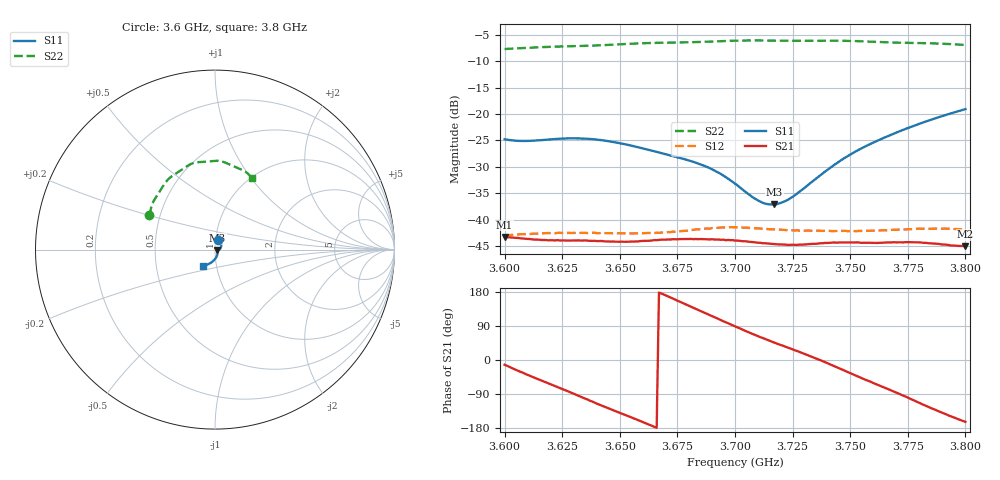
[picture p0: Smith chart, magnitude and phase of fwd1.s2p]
#  HZ  S  DB  R  50.00
! Rohde & Schwarz ZVB8 2Ports - Version 3.70 - 1145.1010k08 SN: 100925
! Date: 2017-03-03 16:07:43
! Measurements: S11 S21 S12 S22
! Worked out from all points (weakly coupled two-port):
!   201 points, 3.6 GHz to 3.8 GHz, reference 50 ohm
!   highest |S21| = -43.29 dB at 3.6 GHz (marker M1); lowest = -45.0 dB at 3.8 GHz (marker M2)
!   lowest |S11| = -37.1 dB at 3.717 GHz (marker M3), VSWR 1.03, Z = 51.3 - j0.482 ohm
!   |S11| at or under -10 dB: start of sweep to end of sweep
!   |S22| runs from -7.7 to -6.1 dB; largest |S21 - S12| = 0.0027
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3.6e9  -24.80 75.4  -43.29 -12.6  -42.99 1.7  -7.69 152.3
3.609e9  -25.11 80.7  -43.63 -36.8  -42.76 -21.8  -7.49 148.2
3.619e9  -24.84 81.6  -43.94 -61.6  -42.54 -48.5  -7.29 144.2
3.634e9  -24.65 71.1  -43.98 -99.6  -42.52 -89.5  -7.12 137.6
3.648e9  -25.37 54.7  -44.18 -134.6  -42.54 -126.7  -6.85 130.5
3.667e9  -27.29 34.6  -43.86 177.9  -42.50 -173.8  -6.52 122.4
3.68e9  -28.80 22.6  -43.68 143.1  -42.00 152.5  -6.42 116.1
3.687e9  -29.87 14.8  -43.74 123.9  -41.71 133.1  -6.33 112.5
3.694e9  -31.40 5.6  -43.81 104.9  -41.49 113.2  -6.21 109.2
3.7e9  -33.18 -2.6  -43.98 88.9  -41.46 95.7  -6.12 106.7
3.706e9  -35.24 -9.5  -44.19 72.8  -41.57 78.4  -6.08 104.4
3.71e9  -36.38 -13.1  -44.39 62.9  -41.68 67.0  -6.08 102.8
3.713e9  -36.95 -15.7  -44.48 55.7  -41.78 59.4  -6.09 101.6
3.717e9  -37.14 -19.7  -44.66 46.2  -41.86 48.7  -6.11 99.8
3.723e9  -36.24 -29.1  -44.80 32.5  -42.03 33.3  -6.14 97.0
3.734e9  -32.64 -51.7  -44.58 7.0  -42.16 4.5  -6.13 91.6
3.742e9  -29.98 -66.5  -44.37 -13.4  -42.18 -16.0  -6.11 88.1
3.75e9  -27.69 -78.6  -44.34 -34.5  -42.15 -36.4  -6.16 85.0
3.757e9  -26.05 -87.5  -44.40 -53.2  -42.11 -54.3  -6.27 82.1
3.767e9  -24.07 -97.9  -44.34 -78.2  -42.03 -80.4  -6.45 77.3
3.78e9  -21.86 -109.8  -44.31 -113.0  -41.71 -116.0  -6.57 71.1
3.8e9  -19.08 -125.6  -45.04 -163.2  -41.92 -172.6  -6.93 63.1
